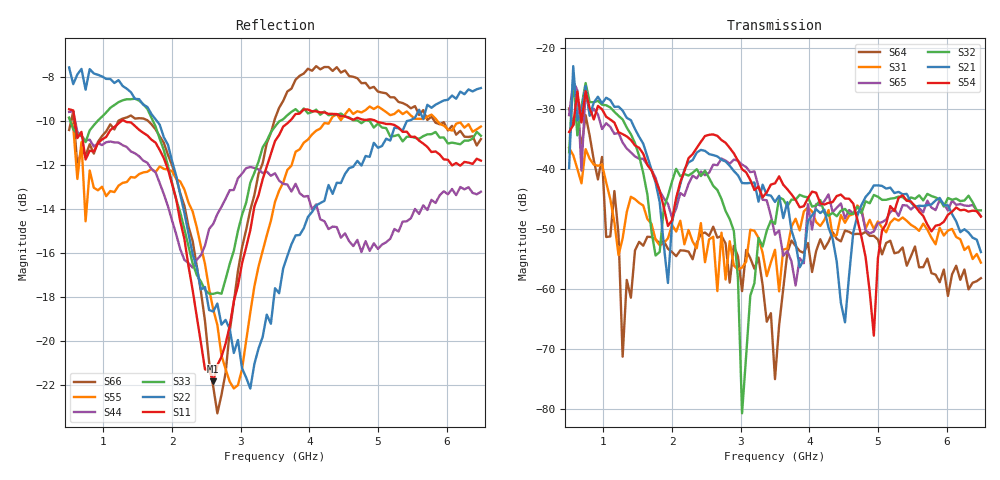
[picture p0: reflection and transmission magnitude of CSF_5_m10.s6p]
!Keysight Technologies,M9804A,MY58100912,A.14.10.03
!Date: Thursday, April 27, 2023 10:28:33
!Correction: S11(C  6-Port  )
!S12(C  6-Port  )
!S13(C  6-Port  )
!S14(C  6-Port  )
!S15(C  6-Port  )
!S16(C  6-Port  )
!S21(C  6-Port  )
!S22(C  6-Port  )
!S23(C  6-Port  )
!S24(C  6-Port  )
!S25(C  6-Port  )
!S26(C  6-Port  )
!S31(C  6-Port  )
!S32(C  6-Port  )
!S33(C  6-Port  )
!S34(C  6-Port  )
!S35(C  6-Port  )
!S36(C  6-Port  )
!S41(C  6-Port  )
!S42(C  6-Port  )
!S43(C  6-Port  )
!S44(C  6-Port  )
!S45(C  6-Port  )
!S46(C  6-Port  )
!S51(C  6-Port  )
!S52(C  6-Port  )
!S53(C  6-Port  )
!S54(C  6-Port  )
!S55(C  6-Port  )
!S56(C  6-Port  )
!S61(C  6-Port  )
!S62(C  6-Port  )
!S63(C  6-Port  )
!S64(C  6-Port  )
!S65(C  6-Port  )
!S66(C  6-Port  )
!S6P File: Measurement: :
# Hz S  RI  R 50
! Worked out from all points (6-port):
!   101 points, 500 MHz to 6.5 GHz, reference 50 ohm
!   strongest paths, dB at 500 MHz, 2 GHz, 3.5 GHz, 5 GHz, 6.5 GHz:
!     S54: -33.9, -48.6, -42.5, -54.9, -48.0
!     S21: -39.9, -49.0, -45.5, -42.8, -53.9
!     S32: -37.3, -42.1, -49.2, -44.7, -47.0
!     S65: -31.1, -48.2, -51.0, -49.1, -47.9
!     S31: -36.6, -49.4, -53.5, -48.8, -55.6
!     S64: -30.0, -53.9, -75.0, -51.8, -58.2
!   lowest |S11| = -21.8 dB at 2.6 GHz (marker M1), VSWR 1.18, Z = 42.7 + j1.91 ohm
!   |S11| at or under -10 dB: 582.1 MHz to 1.27 GHz (688.3 MHz wide, 74.3 % of centre); 1.296 GHz to 3.721 GHz (2.425 GHz wide, 96.7 % of centre); 4.957 GHz to end of sweep
